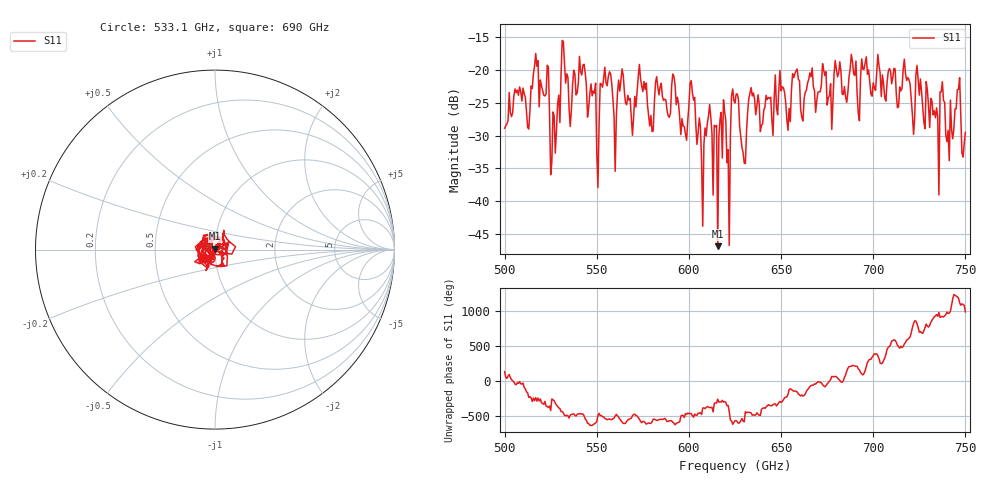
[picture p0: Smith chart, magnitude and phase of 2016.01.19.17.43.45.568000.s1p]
!Created with skrf (http://scikit-rf.org).
# GHz S RI R 50.0
!freq ReS11 ImS11
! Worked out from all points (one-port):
!   401 points, 500 GHz to 750 GHz, reference 50 ohm
!   lowest |S11| = -46.9 dB at 615.6 GHz (marker M1), VSWR 1.01, Z = 49.9 + j0.449 ohm
!   |S11| at or under -10 dB: start of sweep to end of sweep
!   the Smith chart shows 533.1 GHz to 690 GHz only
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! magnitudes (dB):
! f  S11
! 500 GHz  -28.9
! 513.1 GHz  -29.0
! 516.9 GHz  -17.5
! 526.2 GHz  -26.4
! 531.2 GHz  -15.5
! 535.6 GHz  -28.6
! 541.9 GHz  -20.8
! 550 GHz  -32.6
! 553.1 GHz  -22.6
! 560 GHz  -35.5
! 562.5 GHz  -23.2
! 579.4 GHz  -26.9
! 583.1 GHz  -22.6
! 593.8 GHz  -24.2
! 615.6 GHz  -46.9
! 618.8 GHz  -24.6
! 621.2 GHz  -32.2
! 625 GHz  -25.0
! 629.4 GHz  -32.6
! 633.8 GHz  -22.7
! 656.2 GHz  -20.6
! 687.5 GHz  -19.8
! 718.8 GHz  -21.2
! 734.4 GHz  -25.8
! 737.5 GHz  -21.8
! 740 GHz  -30.9
! 745.6 GHz  -23.0
! 750 GHz  -29.5
